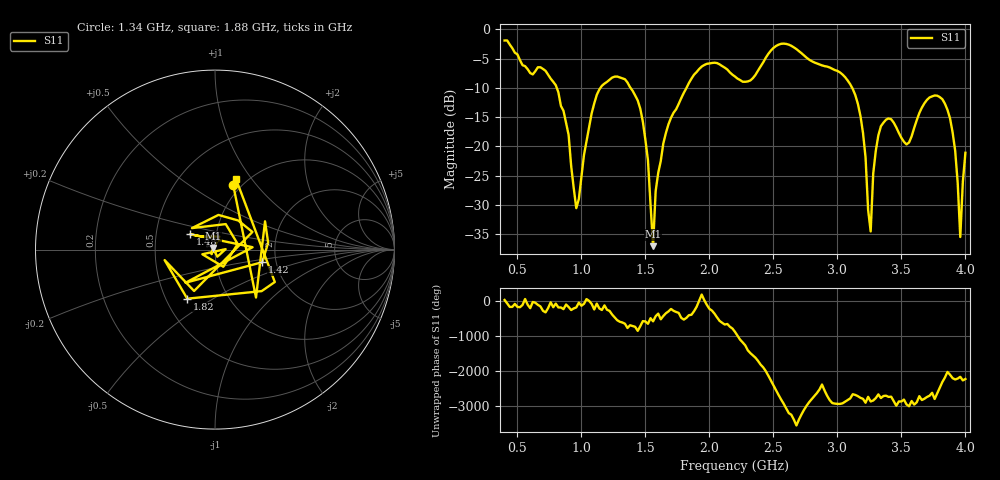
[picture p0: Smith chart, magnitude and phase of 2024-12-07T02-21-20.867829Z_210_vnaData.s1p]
!Created with skrf (http://scikit-rf.org).
# Hz S RI R 50.0
!freq ReS11 ImS11
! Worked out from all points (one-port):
!   181 points, 400 MHz to 4 GHz, reference 50 ohm
!   lowest |S11| = -37.0 dB at 1.56 GHz (marker M1), VSWR 1.03, Z = 48.9 + j0.85 ohm
!   |S11| at or under -10 dB: 807.4 MHz to 1.149 GHz (341.4 MHz wide, 34.9 % of centre); 1.384 GHz to 1.821 GHz (437.7 MHz wide, 27.3 % of centre); 3.115 GHz to end of sweep
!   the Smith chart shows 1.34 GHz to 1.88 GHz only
!   S11 on the Smith chart (normalised r, x): 1.34 GHz: 0.92, +0.77; 1.42 GHz: 1.69, -0.26; 1.48 GHz: 0.75, +0.13; 1.82 GHz: 0.64, -0.39; 1.88 GHz: 0.89, +0.84
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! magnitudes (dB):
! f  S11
! 400 MHz  -1.9
! 860 MHz  -13.9
! 960 MHz  -30.5
! 1.12 GHz  -11.2
! 1.3 GHz  -8.2
! 1.34 GHz  -8.5
! 1.42 GHz  -11.3
! 1.48 GHz  -15.8
! 1.52 GHz  -22.4
! 1.56 GHz  -37.0
! 1.58 GHz  -27.6
! 1.64 GHz  -19.5
! 1.76 GHz  -12.7
! 1.82 GHz  -10.1
! 1.88 GHz  -7.8
! 2.2 GHz  -8.1
! 2.66 GHz  -3.1
! 3.1 GHz  -9.4
! 3.2 GHz  -17.7
! 3.26 GHz  -34.5
! 3.28 GHz  -24.6
! 3.34 GHz  -16.5
! 3.56 GHz  -19.3
! 3.7 GHz  -12.0
! 3.84 GHz  -12.7
! 3.92 GHz  -20.7
! 3.96 GHz  -35.4
! 4 GHz  -21.1
